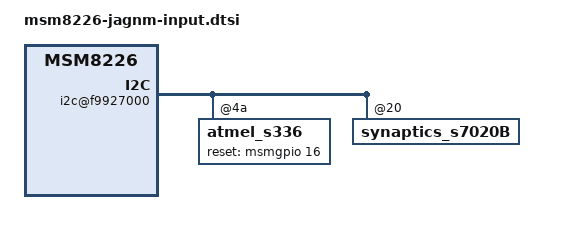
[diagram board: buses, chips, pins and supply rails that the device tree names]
/* Copyright (c) 2013, LGE Electronics. All rights reserved.
 *
 * This program is free software; you can redistribute it and/or modify
 * it under the terms of the GNU General Public License version 2 and
 * only version 2 as published by the Free Software Foundation.
 *
 * This program is distributed in the hope that it will be useful,
 * but WITHOUT ANY WARRANTY; without even the implied warranty of
 * MERCHANTABILITY or FITNESS FOR A PARTICULAR PURPOSE.  See the
 * GNU General Public License for more details.
 */

&soc {
	gpio_keys {
		home {
			unused;
		};

		quick_clip {
			unused;
		};
	};

	i2c@f9927000 { /* BLSP1 QUP5 */
		atmel_s336@4a {
			revision = "rev_0...rev_a";
			status = "ok";
			atmel,fw_name = "atmel/jagnm_att_us/Jaguar02.fw";
			atmel,panel_check = <0>;
			atmel,reset-gpio = <&msmgpio 16 0x00>;
		};

		synaptics_s7020B@20 {
			revision = "rev_b...";
			status = "ok";
			synaptics,fw_version_info = <0x30 0x05 0x01>;
			synaptics,fw_image = "synaptics/jagnm_att_us/PLG364-V1.05-PR1606308-DS4.3.5.1.16_30050185.img";
			synaptics,panel_spec = "synaptics/jagnm_att_us/jagnm_att_us_limit.txt";
			lge,knock_on_type = <1>;
			max_id = <5>;
			synaptics,platform_data	{
				/*maker_id  disable(0), enable(1)*/
				maker_id = <0>;
				maker_id_gpio = <120>;
                		palm_detect_mode = <1>;
                		ghost_detection_enable = <1>;
				vdd_voltage = <3050000>;
			};
		};

		lge_ts_misc {
			revision = "rev_c...";
			vdd_on = <1>;
			vio_l19_on = <1>;
			vio_lvs1_on = <1>;
			irq_wake = <0>;
			status ="disable";
		};
	};

};
